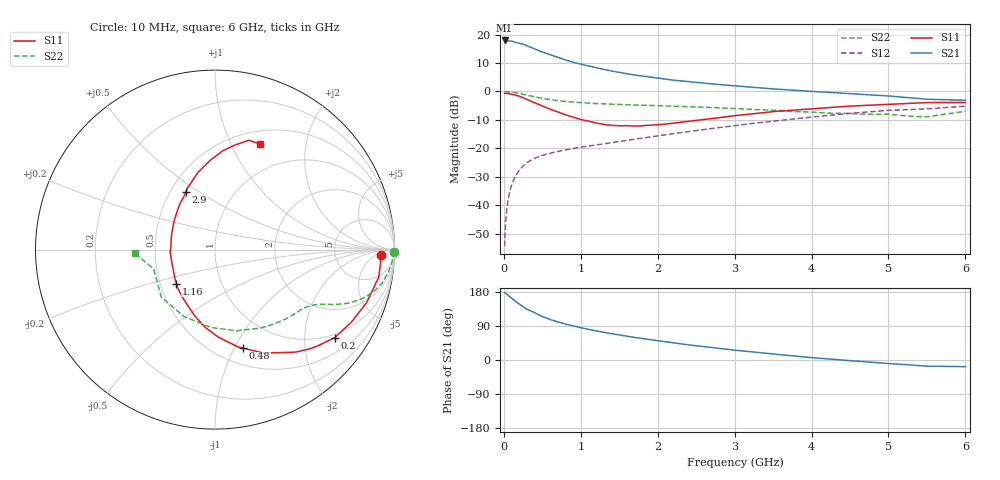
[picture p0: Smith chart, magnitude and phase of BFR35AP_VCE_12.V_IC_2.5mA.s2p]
! Infineon Technologies  Discrete & RF Semiconductors
! BFR35AP
! VCE =  12. V,  IC =  2.5 mA
! Common Emitter S-Parameters:  Nov 2015
# GHz  S  MA  R  50
!  f  S11  S21  S12  S22
! GHz  MAG  ANG  MAG  ANG  MAG  ANG  MAG  ANG
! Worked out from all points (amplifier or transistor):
!   210 points, 10 MHz to 6 GHz, reference 50 ohm
!   highest |S21| = 17.9 dB at 10 MHz (marker M1)
!   |S21| within 3 dB of that: start of sweep to 402.6 MHz
!   unconditionally stable (mu >= 1): 1.156 GHz to 3.103 GHz
!   at 185 MHz: K = 0.24, MSG = 22.7 dB, |S12| = -28.3 dB
!   at 1.52 GHz: K = 1.10, MAG = 10.1 dB, |S12| = -17.5 dB
!   at 6 GHz: K = 0.90, MSG = 1.0 dB, |S12| = -5.2 dB
!   S11 on the Smith chart (normalised r, x): 10 MHz: 22, -10; 200 MHz: 0.90, -2.79; 480 MHz: 0.66, -1.08; 1.16 GHz: 0.61, -0.25; 2.9 GHz: 0.60, +0.44; 6 GHz: 0.65, +1.29
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0.01  0.9274 -1.9  7.885 178.2  0.0019 82.4  0.9973 -0.7
0.03  0.9248 -5.7  7.782 174.7  0.0066 84.5  0.9889 -2.3
0.06  0.917 -11.5  7.714 170.0  0.0135 82.1  0.9862 -4.6
0.1  0.8951 -19.2  7.69 163.5  0.0222 78.8  0.9739 -7.5
0.15  0.8616 -27.8  7.336 154.9  0.0321 74.0  0.9507 -11.2
0.2  0.8281 -36.3  7.08 147.7  0.0411 69.8  0.9243 -13.9
0.26  0.7647 -46.3  6.702 139.2  0.0504 65.0  0.885 -17.0
0.3  0.7246 -52.1  6.372 134.2  0.0561 62.7  0.8594 -18.7
0.4  0.6358 -65.0  5.601 124.4  0.0668 58.0  0.8049 -21.7
0.48  0.5705 -74.2  5.061 116.8  0.0734 55.7  0.7664 -23.3
0.6  0.4892 -87.6  4.444 107.1  0.0817 52.8  0.7183 -25.2
0.7  0.4368 -97.2  3.989 100.6  0.0881 51.8  0.6889 -26.3
0.84  0.3749 -109.1  3.454 93.0  0.0959 50.9  0.6595 -27.6
1.02  0.3164 -126.1  2.977 84.3  0.1053 51.2  0.6332 -29.1
1.16  0.2863 -138.7  2.692 78.5  0.1129 51.7  0.6166 -30.5
1.6  0.2504 -176.2  2.043 62.6  0.1382 53.4  0.5826 -35.3
2.02  0.261 155.2  1.704 50.4  0.1669 54.3  0.5614 -41.3
2.9  0.3597 116.8  1.292 28.4  0.2411 52.5  0.5083 -58.4
3.1  0.3863 111.6  1.224 24.0  0.2603 51.1  0.493 -63.5
4.1  0.5076 91.5  0.985 4.7  0.3652 42.1  0.425 -97.2
5.1  0.6015 77.8  0.812 -10.6  0.4702 27.9  0.3866 -142.7
6  0.6391 67.0  0.7 -17.6  0.5506 16.2  0.4475 -177.3
